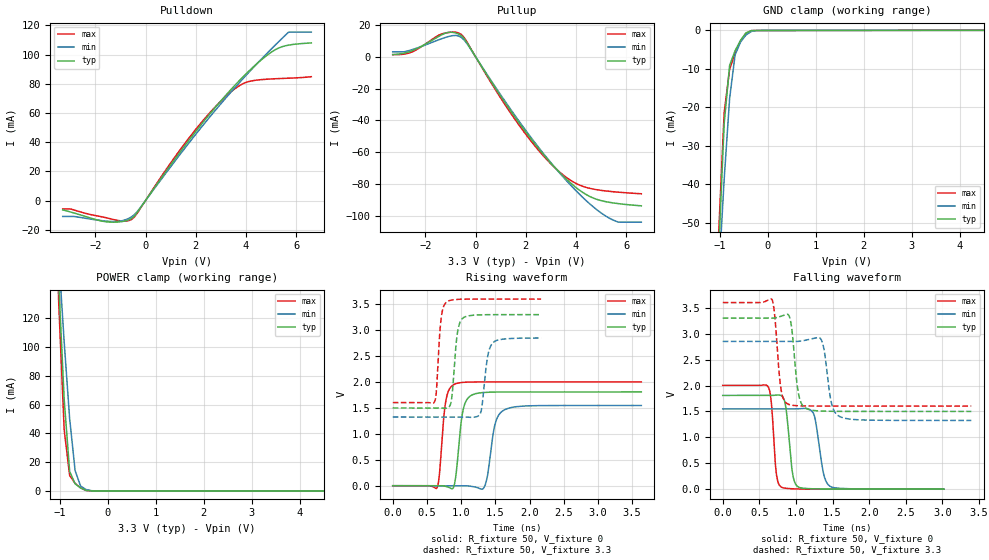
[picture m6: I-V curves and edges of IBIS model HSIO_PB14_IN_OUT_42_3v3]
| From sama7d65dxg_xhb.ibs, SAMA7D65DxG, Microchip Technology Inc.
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|   Model   HSIO_PB14_IN_OUT_50
[Model] HSIO_PB14_IN_OUT_42_3v3
Model_type I/O
Enable   Active-High
Vinl  =  0.99
Vinh  =  2.31
Vmeas =  1.650
| Capacitance   typ   min   max
C_comp   1.068321978062917e-12   1.016334733226081e-12   1.138611340369402e-12
| Variables   typ   min   max
[GND Clamp Reference]   0   0   0
[POWER Clamp Reference]   3.3   2.85   3.6
[Pulldown Reference]   0   0   0
[Pullup Reference]   3.3   2.85   3.6
[Temperature Range]   25   125   -40
[Voltage Range]   3.3   2.85   3.6
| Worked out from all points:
|   slope of the pulldown table from 0 to 0.495 V, typ, clamps not added: 40.6 ohm
|   slope of the pullup table from 0 to 0.495 V, typ, clamps not added: 39.7 ohm
|   GND clamp passes 1 mA (typ) near -0.47 V on its own axis
|   POWER clamp passes 1 mA (typ) near -0.50 V on its own axis
|   falling waveform, R_fixture 50, V_fixture 0: 20-80 % time 73.9ps typ, 98.6ps min, 56.4ps max; typ from 1.81 V to 0.001 V
|   falling waveform, R_fixture 50, V_fixture 3.3: 20-80 % time 76.8ps typ, 91.1ps min, 67.9ps max; typ from 3.3 V to 1.5 V
|   rising waveform, R_fixture 50, V_fixture 0: 20-80 % time 88.7ps typ, 108ps min, 77.7ps max; typ from 0 V to 1.81 V
|   rising waveform, R_fixture 50, V_fixture 3.3: 20-80 % time 69.1ps typ, 82.2ps min, 58.2ps max; typ from 1.5 V to 3.3 V
[GND Clamp]
| Voltage   I(typ)   I(min)   I(max)
-3.3V     -929.1mA   -542.5mA   -1.152A
-1.024V   -57.05mA   -64.05mA   -52.48mA
-910.3mV  -24.26mA   -38.73mA   -21.41mA
-796.6mV  -9.1mA     -17.67mA   -10.13mA
-682.8mV  -5.32mA    -6.383mA   -6.018mA
-569mV    -2.568mA   -3.041mA   -2.759mA
-455.2mV  -677.7uA   -1.206mA   -728.3uA
-341.4mV  -70.25uA   -271.9uA   -72.06uA
-113.8mV  -34.12uA   -25.48uA   -45.7uA
6.6V      0A         0A         0A
[POWER Clamp]
| Voltage   I(typ)   I(min)   I(max)
-3.3V     2.134A     1.237A     2.671A
-1.138V   234.7mA    225.9mA    258.9mA
-1.024V   144.5mA    163.2mA    130.8mA
-910.3mV  63.72mA    103.5mA    42.5mA
-796.6mV  13.63mA    50.37mA    10.74mA
-682.8mV  4.957mA    14.13mA    5.284mA
-569mV    2.071mA    3.44mA     2.128mA
-455.2mV  359.6uA    975.1uA    378.6uA
-227.6mV  2.45uA     12.53uA    2.818uA
6.6V      0A         0A         0A
[Pulldown]
| Voltage   I(typ)   I(min)   I(max)
-3.3V     -6.432mA   -10.92mA   -5.746mA
-1.593V   -14.54mA   -14.08mA   -11.71mA
-1.024V   -14.62mA   -14.14mA   -13.88mA
-569mV    -12.34mA   -11.28mA   -13.09mA
-227.6mV  -5.613mA   -5.277mA   -5.991mA
1.934V    45.86mA    43.96mA    47.35mA
2.731V    62.85mA    60.81mA    63.36mA
3.528V    78.37mA    76.73mA    76.16mA
4.097V    88.36mA    87.51mA    81.44mA
4.893V    100.2mA    101.8mA    83.15mA
5.69V     106.4mA    115.2mA    83.77mA
6.6V      107.9mA    115.4mA    84.82mA
[Pullup]
| Voltage   I(typ)   I(min)   I(max)
-3.3V     1.372mA    3.143mA    1.366mA
-2.503V   3.96mA     4.612mA    3.224mA
-1.138V   15.19mA    12.48mA    15.13mA
-569mV    13.24mA    12.15mA    14.06mA
-341.4mV  8.747mA    8.291mA    9.281mA
1.707V    -40.98mA   -40.01mA   -42.47mA
2.503V    -57.62mA   -56.88mA   -58.77mA
3.3V      -72.06mA   -72.24mA   -71.86mA
4.324V    -85.91mA   -89.32mA   -81.8mA
5.234V    -91.31mA   -100.7mA   -84.5mA
5.69V     -92.39mA   -104mA     -85.19mA
6.6V      -93.76mA   -104.1mA   -86.18mA
[Ramp]
dV/dt_r   1.08519/88.6964p  0.928555/0.10784n  1.20159/77.6872p
dV/dt_f   1.08052/76.8835p  0.914769/91.0867p  1.19857/67.9763p
R_load = 50
[Falling Waveform]
R_fixture = 50
V_fixture = 0
V_fixture_min = 0
V_fixture_max = 0
| Time   V(typ)   V(min)   V(max)
0s        1.809V     1.548V     2.003V
619.9ps   1.808V     1.548V     1.976V
664.8ps   1.808V     1.548V     1.656V
735ps     1.817V     1.548V     272.5mV
805.3ps   1.798V     1.548V     35.42mV
960.6ps   251.9mV    1.548V     7.142mV
1.031ns   43.42mV    1.55V      3.807mV
1.246ns   6.649mV    1.438V     946.7uV
1.464ns   1.626mV    56.93mV    754.3uV
3.02ns    558.2uV    264.6uV    751uV
[Falling Waveform]
R_fixture = 50
V_fixture = 3.3
V_fixture_min = 2.85
V_fixture_max = 3.6
| Time   V(typ)   V(min)   V(max)
0s        3.3V       2.85V      3.6V
674.9ps   3.299V     2.849V     3.653V
793.9ps   3.337V     2.849V     1.947V
902.1ps   3.354V     2.849V     1.635V
1.033ns   1.851V     2.852V     1.609V
1.144ns   1.553V     2.879V     1.605V
1.349ns   1.507V     2.873V     1.604V
1.483ns   1.502V     1.675V     1.603V
1.594ns   1.501V     1.403V     1.603V
3.395ns   1.5V       1.326V     1.603V
[Rising Waveform]
R_fixture = 50
V_fixture = 0
V_fixture_min = 0
V_fixture_max = 0
| Time   V(typ)   V(min)   V(max)
0s        31.33nV    274.1nV    118.5nV
647.5ps   875uV      -171.5uV   -41.08mV
775.4ps   -12.61mV   -205.4uV   1.628V
920.5ps   164mV      -243.8uV   1.967V
1.026ns   1.442V     -271.8uV   1.993V
1.163ns   1.753V     -14.61mV   2V
1.352ns   1.8V       15.59mV    2.001V
1.5ns     1.806V     1.208V     2.001V
1.646ns   1.807V     1.471V     2V
3.634ns   1.808V     1.547V     2.002V
[Rising Waveform]
R_fixture = 50
V_fixture = 3.3
V_fixture_min = 2.85
V_fixture_max = 3.6
| Time   V(typ)   V(min)   V(max)
0s        1.499V     1.325V     1.602V
609.1ps   1.499V     1.325V     1.613V
706.7ps   1.499V     1.325V     3.212V
794.4ps   1.496V     1.325V     3.549V
858.6ps   1.651V     1.325V     3.58V
936.5ps   2.857V     1.325V     3.592V
1.018ns   3.223V     1.325V     3.597V
1.284ns   3.295V     1.404V     3.599V
1.463ns   3.299V     2.754V     3.599V
2.17ns    3.299V     2.849V     3.599V
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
